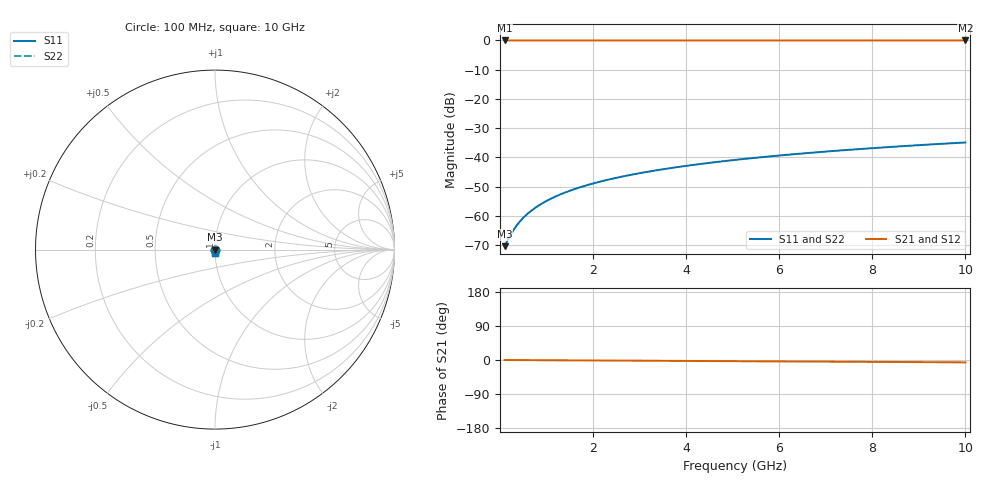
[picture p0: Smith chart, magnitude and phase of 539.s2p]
# Hz S RI R 50.00
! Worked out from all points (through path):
!   100 points, 100 MHz to 10 GHz, reference 50 ohm
!   highest |S21| = 0.00 dB at 100 MHz (marker M1); lowest = 0.0 dB at 10 GHz (marker M2)
!   lowest |S11| = -70.4 dB at 100 MHz (marker M3), VSWR 1.00, Z = 50 - j0.0178 ohm
!   |S11| at or under -10 dB: start of sweep to end of sweep
!   |S22| runs from -70.4 to -34.9 dB; largest |S21 - S12| = 0
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1e8  0.000245 -0.000178  0.9998 -0.00108  0.9998 -0.00108  0.000245 -0.000178
2e8  0.000245 -0.000357  0.9997 -0.00216  0.9997 -0.00216  0.000245 -0.000357
3e8  0.000245 -0.000535  0.9997 -0.00324  0.9997 -0.00324  0.000245 -0.000535
4e8  0.000244 -0.000713  0.9997 -0.00432  0.9997 -0.00432  0.000244 -0.000713
5e8  0.000242 -0.000892  0.9997 -0.0054  0.9997 -0.0054  0.000242 -0.000892
6e8  0.000241 -0.00107  0.9997 -0.00648  0.9997 -0.00648  0.000241 -0.00107
7e8  0.000238 -0.00125  0.9997 -0.00756  0.9997 -0.00756  0.000238 -0.00125
9e8  0.000232 -0.00161  0.9997 -0.00972  0.9997 -0.00972  0.000232 -0.00161
1e9  0.000228 -0.00178  0.9997 -0.0108  0.9997 -0.0108  0.000228 -0.00178
1.2e9  0.00022 -0.00214  0.9997 -0.013  0.9997 -0.013  0.00022 -0.00214
1.5e9  0.000204 -0.00268  0.9996 -0.0162  0.9996 -0.0162  0.000204 -0.00268
1.8e9  0.000184 -0.00321  0.9995 -0.0194  0.9995 -0.0194  0.000184 -0.00321
2.1e9  0.000161 -0.00375  0.9995 -0.0227  0.9995 -0.0227  0.000161 -0.00375
2.5e9  0.000125 -0.00447  0.9993 -0.027  0.9993 -0.027  0.000125 -0.00447
2.9e9  8.18e-05 -0.00518  0.9992 -0.0313  0.9992 -0.0313  8.18e-05 -0.00518
3.4e9  1.95e-05 -0.00608  0.999 -0.0368  0.999 -0.0368  1.95e-05 -0.00608
4.2e9  -0.000101 -0.00751  0.9986 -0.0454  0.9986 -0.0454  -0.000101 -0.00751
5.1e9  -0.000266 -0.00913  0.9981 -0.0552  0.9981 -0.0552  -0.000266 -0.00913
5.9e9  -0.00044 -0.0106  0.9976 -0.0639  0.9976 -0.0639  -0.00044 -0.0106
6.7e9  -0.000639 -0.012  0.997 -0.0726  0.997 -0.0726  -0.000639 -0.012
8.4e9  -0.00115 -0.0151  0.9954 -0.0911  0.9954 -0.0911  -0.00115 -0.0151
1e10  -0.00173 -0.0179  0.9936 -0.1085  0.9936 -0.1085  -0.00173 -0.0179
